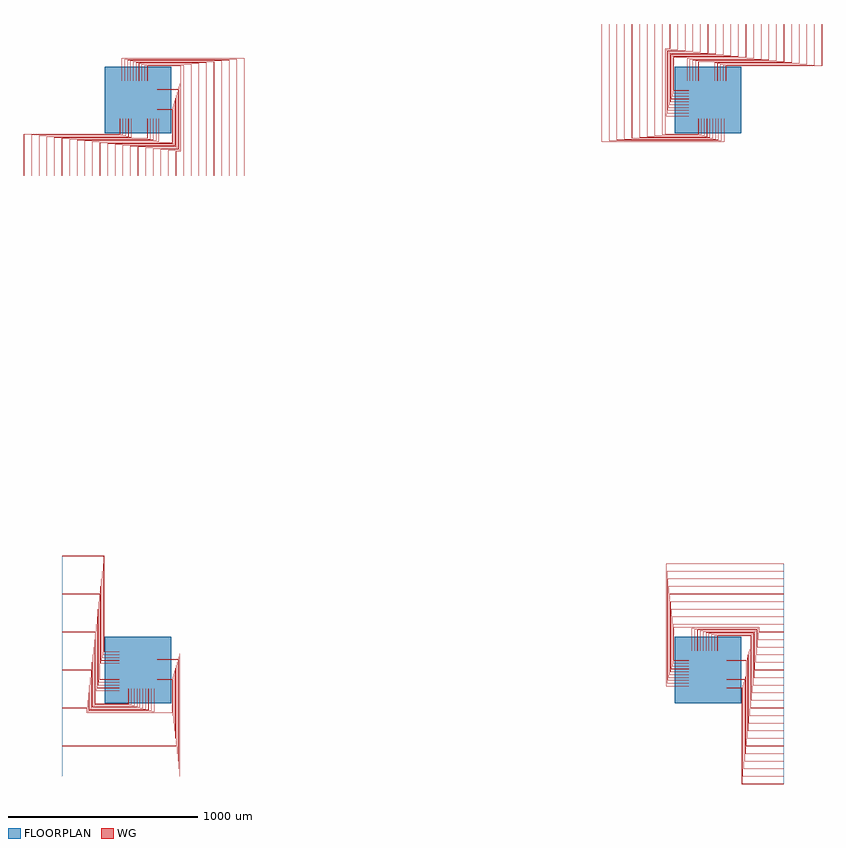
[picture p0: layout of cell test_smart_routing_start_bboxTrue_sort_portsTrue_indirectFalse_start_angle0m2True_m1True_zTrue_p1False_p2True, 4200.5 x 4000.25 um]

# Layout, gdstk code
import gdstk
lib = gdstk.Library(unit=1e-6, precision=1e-09)
def R(c, l, rs):  # rectangles x0, y0, x1, y1
    for r in rs: c.add(gdstk.rectangle(r[:2], r[2:], *l))
def P(c, l, *ps):  # polygons
    for p in ps: c.add(gdstk.Polygon(p, *l))
WG = (1, 0)
FLOORPLAN = (10, 0)

test_smart_routing_start = lib.new_cell('test_smart_routing_start_bboxTrue_sort_portsTrue_indirectFalse_start_angle0m2True_m1True_zTrue_p1False_p2True')
P(test_smart_routing_start, WG, [(3094.75,3100),(3094.75,3179.5),(3599.75,3179.5),(3599.75,3400),(3600.25,3400),(3600.25,3179),(3095.25,3179),(3095.25,3100)],
  [(3079.75,3100),(3079.75,3184),(3559.75,3184),(3559.75,3400),(3560.25,3400),(3560.25,3183.5),(3080.25,3183.5),(3080.25,3100)],
  [(3064.75,3100),(3064.75,3188.5),(3519.75,3188.5),(3519.75,3400),(3520.25,3400),(3520.25,3188),(3065.25,3188),(3065.25,3100)],
  [(3049.75,3100),(3049.75,3193),(3479.75,3193),(3479.75,3400),(3480.25,3400),(3480.25,3192.5),(3050.25,3192.5),(3050.25,3100)],
  [(3034.75,3100),(3034.75,3197.5),(3439.75,3197.5),(3439.75,3400),(3440.25,3400),(3440.25,3197),(3035.25,3197),(3035.25,3100)],
  [(2949.75,3100),(2949.75,3202),(3399.75,3202),(3399.75,3400),(3400.25,3400),(3400.25,3201.5),(2950.25,3201.5),(2950.25,3100)],
  [(2934.75,3100),(2934.75,3206.5),(3359.75,3206.5),(3359.75,3400),(3360.25,3400),(3360.25,3206),(2935.25,3206),(2935.25,3100)],
  [(2919.75,3100),(2919.75,3211),(3319.75,3211),(3319.75,3400),(3320.25,3400),(3320.25,3210.5),(2920.25,3210.5),(2920.25,3100)],
  [(2904.75,3100),(2904.75,3215.5),(3279.75,3215.5),(3279.75,3400),(3280.25,3400),(3280.25,3215),(2905.25,3215),(2905.25,3100)],
  [(2889.75,3100),(2889.75,3220),(3239.75,3220),(3239.75,3400),(3240.25,3400),(3240.25,3219.5),(2890.25,3219.5),(2890.25,3100)],
  [(2820.5,3049.75),(2820.5,3224.5),(3199.75,3224.5),(3199.75,3400),(3200.25,3400),(3200.25,3224),(2821,3224),(2821,3050.25),(2900,3050.25),(2900,3049.75)],
  [(2816,3034.75),(2816,3229),(3159.75,3229),(3159.75,3400),(3160.25,3400),(3160.25,3228.5),(2816.5,3228.5),(2816.5,3035.25),(2900,3035.25),(2900,3034.75)],
  [(2811.5,3019.75),(2811.5,3233.5),(3119.75,3233.5),(3119.75,3400),(3120.25,3400),(3120.25,3233),(2812,3233),(2812,3020.25),(2900,3020.25),(2900,3019.75)],
  [(2807,3004.75),(2807,3238),(3079.75,3238),(3079.75,3400),(3080.25,3400),(3080.25,3237.5),(2807.5,3237.5),(2807.5,3005.25),(2900,3005.25),(2900,3004.75)],
  [(2802.5,2989.75),(2802.5,3242.5),(3039.75,3242.5),(3039.75,3400),(3040.25,3400),(3040.25,3242),(2803,3242),(2803,2990.25),(2900,2990.25),(2900,2989.75)],
  [(2798,2974.75),(2798,3247),(2999.75,3247),(2999.75,3400),(3000.25,3400),(3000.25,3246.5),(2798.5,3246.5),(2798.5,2975.25),(2900,2975.25),(2900,2974.75)],
  [(2793.5,2959.75),(2793.5,3251.5),(2959.75,3251.5),(2959.75,3400),(2960.25,3400),(2960.25,3251),(2794,3251),(2794,2960.25),(2900,2960.25),(2900,2959.75)],
  [(2789,2944.75),(2789,3256),(2919.75,3256),(2919.75,3400),(2920.25,3400),(2920.25,3255.5),(2789.5,3255.5),(2789.5,2945.25),(2900,2945.25),(2900,2944.75)],
  [(2784.5,2929.75),(2784.5,3260.5),(2879.75,3260.5),(2879.75,3400),(2880.25,3400),(2880.25,3260),(2785,3260),(2785,2930.25),(2900,2930.25),(2900,2929.75)],
  [(2780,2914.75),(2780,3265),(2839.75,3265),(2839.75,3400),(2840.25,3400),(2840.25,3264.5),(2780.5,3264.5),(2780.5,2915.25),(2900,2915.25),(2900,2914.75)],
  [(2775.5,2820.5),(2775.5,3269.5),(2799.75,3269.5),(2799.75,3400),(2800.25,3400),(2800.25,3269),(2776,3269),(2776,2821),(2949.75,2821),(2949.75,2900),(2950.25,2900),(2950.25,2820.5)],
  [(2759.75,2816),(2759.75,3400),(2760.25,3400),(2760.25,2816.5),(2964.75,2816.5),(2964.75,2900),(2965.25,2900),(2965.25,2816)],
  [(2719.75,2811.5),(2719.75,3400),(2720.25,3400),(2720.25,2812),(2979.75,2812),(2979.75,2900),(2980.25,2900),(2980.25,2811.5)],
  [(2679.75,2807),(2679.75,3400),(2680.25,3400),(2680.25,2807.5),(2994.75,2807.5),(2994.75,2900),(2995.25,2900),(2995.25,2807)],
  [(2639.75,2802.5),(2639.75,3400),(2640.25,3400),(2640.25,2803),(3009.75,2803),(3009.75,2900),(3010.25,2900),(3010.25,2802.5)],
  [(2599.75,2798),(2599.75,3400),(2600.25,3400),(2600.25,2798.5),(3024.75,2798.5),(3024.75,2900),(3025.25,2900),(3025.25,2798)],
  [(2559.75,2793.5),(2559.75,3400),(2560.25,3400),(2560.25,2794),(3039.75,2794),(3039.75,2900),(3040.25,2900),(3040.25,2793.5)],
  [(2519.75,2789),(2519.75,3400),(2520.25,3400),(2520.25,2789.5),(3054.75,2789.5),(3054.75,2900),(3055.25,2900),(3055.25,2789)],
  [(2479.75,2784.5),(2479.75,3400),(2480.25,3400),(2480.25,2785),(3069.75,2785),(3069.75,2900),(3070.25,2900),(3070.25,2784.5)],
  [(2439.75,2780),(2439.75,3400),(2440.25,3400),(2440.25,2780.5),(3084.75,2780.5),(3084.75,2900),(3085.25,2900),(3085.25,2780)],
  [(-600.25,2600),(-600.25,2821),(-95.25,2821),(-95.25,2900),(-94.75,2900),(-94.75,2820.5),(-599.75,2820.5),(-599.75,2600)],
  [(-560.25,2600),(-560.25,2816.5),(-80.25,2816.5),(-80.25,2900),(-79.75,2900),(-79.75,2816),(-559.75,2816),(-559.75,2600)],
  [(-520.25,2600),(-520.25,2812),(-65.25,2812),(-65.25,2900),(-64.75,2900),(-64.75,2811.5),(-519.75,2811.5),(-519.75,2600)],
  [(-480.25,2600),(-480.25,2807.5),(-50.25,2807.5),(-50.25,2900),(-49.75,2900),(-49.75,2807),(-479.75,2807),(-479.75,2600)],
  [(-440.25,2600),(-440.25,2803),(-35.25,2803),(-35.25,2900),(-34.75,2900),(-34.75,2802.5),(-439.75,2802.5),(-439.75,2600)],
  [(-400.25,2600),(-400.25,2798.5),(49.75,2798.5),(49.75,2900),(50.25,2900),(50.25,2798),(-399.75,2798),(-399.75,2600)],
  [(-360.25,2600),(-360.25,2794),(64.75,2794),(64.75,2900),(65.25,2900),(65.25,2793.5),(-359.75,2793.5),(-359.75,2600)],
  [(-320.25,2600),(-320.25,2789.5),(79.75,2789.5),(79.75,2900),(80.25,2900),(80.25,2789),(-319.75,2789),(-319.75,2600)],
  [(-280.25,2600),(-280.25,2785),(94.75,2785),(94.75,2900),(95.25,2900),(95.25,2784.5),(-279.75,2784.5),(-279.75,2600)],
  [(-240.25,2600),(-240.25,2780.5),(109.75,2780.5),(109.75,2900),(110.25,2900),(110.25,2780),(-239.75,2780),(-239.75,2600)],
  [(-200.25,2600),(-200.25,2776),(179,2776),(179,2949.75),(100,2949.75),(100,2950.25),(179.5,2950.25),(179.5,2775.5),(-199.75,2775.5),(-199.75,2600)],
  [(-160.25,2600),(-160.25,2771.5),(183.5,2771.5),(183.5,2964.75),(100,2964.75),(100,2965.25),(184,2965.25),(184,2771),(-159.75,2771),(-159.75,2600)],
  [(-120.25,2600),(-120.25,2767),(188,2767),(188,2979.75),(100,2979.75),(100,2980.25),(188.5,2980.25),(188.5,2766.5),(-119.75,2766.5),(-119.75,2600)],
  [(-80.25,2600),(-80.25,2762.5),(192.5,2762.5),(192.5,2994.75),(100,2994.75),(100,2995.25),(193,2995.25),(193,2762),(-79.75,2762),(-79.75,2600)],
  [(-40.25,2600),(-40.25,2758),(197,2758),(197,3009.75),(100,3009.75),(100,3010.25),(197.5,3010.25),(197.5,2757.5),(-39.75,2757.5),(-39.75,2600)],
  [(-0.25,2600),(-0.25,2753.5),(201.5,2753.5),(201.5,3024.75),(100,3024.75),(100,3025.25),(202,3025.25),(202,2753),(0.25,2753),(0.25,2600)],
  [(39.75,2600),(39.75,2749),(206,2749),(206,3039.75),(100,3039.75),(100,3040.25),(206.5,3040.25),(206.5,2748.5),(40.25,2748.5),(40.25,2600)],
  [(79.75,2600),(79.75,2744.5),(210.5,2744.5),(210.5,3054.75),(100,3054.75),(100,3055.25),(211,3055.25),(211,2744),(80.25,2744),(80.25,2600)],
  [(119.75,2600),(119.75,2740),(215,2740),(215,3069.75),(100,3069.75),(100,3070.25),(215.5,3070.25),(215.5,2739.5),(120.25,2739.5),(120.25,2600)],
  [(159.75,2600),(159.75,2735.5),(219.5,2735.5),(219.5,3084.75),(100,3084.75),(100,3085.25),(220,3085.25),(220,2735),(160.25,2735),(160.25,2600)],
  [(199.75,2600),(199.75,2731),(224,2731),(224,3179),(50.25,3179),(50.25,3100),(49.75,3100),(49.75,3179.5),(224.5,3179.5),(224.5,2730.5),(200.25,2730.5),(200.25,2600)],
  [(239.75,2600),(239.75,3183.5),(35.25,3183.5),(35.25,3100),(34.75,3100),(34.75,3184),(240.25,3184),(240.25,2600)],
  [(279.75,2600),(279.75,3188),(20.25,3188),(20.25,3100),(19.75,3100),(19.75,3188.5),(280.25,3188.5),(280.25,2600)],
  [(319.75,2600),(319.75,3192.5),(5.25,3192.5),(5.25,3100),(4.75,3100),(4.75,3193),(320.25,3193),(320.25,2600)],
  [(359.75,2600),(359.75,3197),(-9.75,3197),(-9.75,3100),(-10.25,3100),(-10.25,3197.5),(360.25,3197.5),(360.25,2600)],
  [(399.75,2600),(399.75,3201.5),(-24.75,3201.5),(-24.75,3100),(-25.25,3100),(-25.25,3202),(400.25,3202),(400.25,2600)],
  [(439.75,2600),(439.75,3206),(-39.75,3206),(-39.75,3100),(-40.25,3100),(-40.25,3206.5),(440.25,3206.5),(440.25,2600)],
  [(479.75,2600),(479.75,3210.5),(-54.75,3210.5),(-54.75,3100),(-55.25,3100),(-55.25,3211),(480.25,3211),(480.25,2600)],
  [(519.75,2600),(519.75,3215),(-69.75,3215),(-69.75,3100),(-70.25,3100),(-70.25,3215.5),(520.25,3215.5),(520.25,2600)],
  [(559.75,2600),(559.75,3219.5),(-84.75,3219.5),(-84.75,3100),(-85.25,3100),(-85.25,3220),(560.25,3220),(560.25,2600)],
  [(-179.5,94.75),(-179.5,599.75),(-400,599.75),(-400,600.25),(-179,600.25),(-179,95.25),(-100,95.25),(-100,94.75)],
  [(-184,79.75),(-184,559.75),(-400,559.75),(-400,560.25),(-183.5,560.25),(-183.5,80.25),(-100,80.25),(-100,79.75)],
  [(-188.5,64.75),(-188.5,519.75),(-400,519.75),(-400,520.25),(-188,520.25),(-188,65.25),(-100,65.25),(-100,64.75)],
  [(-193,49.75),(-193,479.75),(-400,479.75),(-400,480.25),(-192.5,480.25),(-192.5,50.25),(-100,50.25),(-100,49.75)],
  [(-197.5,34.75),(-197.5,439.75),(-400,439.75),(-400,440.25),(-197,440.25),(-197,35.25),(-100,35.25),(-100,34.75)],
  [(-202,-50.25),(-202,399.75),(-400,399.75),(-400,400.25),(-201.5,400.25),(-201.5,-49.75),(-100,-49.75),(-100,-50.25)],
  [(-206.5,-65.25),(-206.5,359.75),(-400,359.75),(-400,360.25),(-206,360.25),(-206,-64.75),(-100,-64.75),(-100,-65.25)],
  [(-211,-80.25),(-211,319.75),(-400,319.75),(-400,320.25),(-210.5,320.25),(-210.5,-79.75),(-100,-79.75),(-100,-80.25)],
  [(-215.5,-95.25),(-215.5,279.75),(-400,279.75),(-400,280.25),(-215,280.25),(-215,-94.75),(-100,-94.75),(-100,-95.25)],
  [(-220,-110.25),(-220,239.75),(-400,239.75),(-400,240.25),(-219.5,240.25),(-219.5,-109.75),(-100,-109.75),(-100,-110.25)],
  [(-224.5,-179.5),(-224.5,199.75),(-400,199.75),(-400,200.25),(-224,200.25),(-224,-179),(-50.25,-179),(-50.25,-100),(-49.75,-100),(-49.75,-179.5)],
  [(-229,-184),(-229,159.75),(-400,159.75),(-400,160.25),(-228.5,160.25),(-228.5,-183.5),(-35.25,-183.5),(-35.25,-100),(-34.75,-100),(-34.75,-184)],
  [(-233.5,-188.5),(-233.5,119.75),(-400,119.75),(-400,120.25),(-233,120.25),(-233,-188),(-20.25,-188),(-20.25,-100),(-19.75,-100),(-19.75,-188.5)],
  [(-238,-193),(-238,79.75),(-400,79.75),(-400,80.25),(-237.5,80.25),(-237.5,-192.5),(-5.25,-192.5),(-5.25,-100),(-4.75,-100),(-4.75,-193)],
  [(-242.5,-197.5),(-242.5,39.75),(-400,39.75),(-400,40.25),(-242,40.25),(-242,-197),(9.75,-197),(9.75,-100),(10.25,-100),(10.25,-197.5)],
  [(-247,-202),(-247,-0.25),(-400,-0.25),(-400,0.25),(-246.5,0.25),(-246.5,-201.5),(24.75,-201.5),(24.75,-100),(25.25,-100),(25.25,-202)],
  [(-251.5,-206.5),(-251.5,-40.25),(-400,-40.25),(-400,-39.75),(-251,-39.75),(-251,-206),(39.75,-206),(39.75,-100),(40.25,-100),(40.25,-206.5)],
  [(-256,-211),(-256,-80.25),(-400,-80.25),(-400,-79.75),(-255.5,-79.75),(-255.5,-210.5),(54.75,-210.5),(54.75,-100),(55.25,-100),(55.25,-211)],
  [(-260.5,-215.5),(-260.5,-120.25),(-400,-120.25),(-400,-119.75),(-260,-119.75),(-260,-215),(69.75,-215),(69.75,-100),(70.25,-100),(70.25,-215.5)],
  [(-265,-220),(-265,-160.25),(-400,-160.25),(-400,-159.75),(-264.5,-159.75),(-264.5,-219.5),(84.75,-219.5),(84.75,-100),(85.25,-100),(85.25,-220)],
  [(-269.5,-224.5),(-269.5,-200.25),(-400,-200.25),(-400,-199.75),(-269,-199.75),(-269,-224),(179,-224),(179,-50.25),(100,-50.25),(100,-49.75),(179.5,-49.75),(179.5,-224.5)],
  [(-400,-240.25),(-400,-239.75),(183.5,-239.75),(183.5,-35.25),(100,-35.25),(100,-34.75),(184,-34.75),(184,-240.25)],
  [(-400,-280.25),(-400,-279.75),(188,-279.75),(188,-20.25),(100,-20.25),(100,-19.75),(188.5,-19.75),(188.5,-280.25)],
  [(-400,-320.25),(-400,-319.75),(192.5,-319.75),(192.5,-5.25),(100,-5.25),(100,-4.75),(193,-4.75),(193,-320.25)],
  [(-400,-360.25),(-400,-359.75),(197,-359.75),(197,9.75),(100,9.75),(100,10.25),(197.5,10.25),(197.5,-360.25)],
  [(-400,-400.25),(-400,-399.75),(201.5,-399.75),(201.5,24.75),(100,24.75),(100,25.25),(202,25.25),(202,-400.25)],
  [(-400,-440.25),(-400,-439.75),(206,-439.75),(206,39.75),(100,39.75),(100,40.25),(206.5,40.25),(206.5,-440.25)],
  [(-400,-480.25),(-400,-479.75),(210.5,-479.75),(210.5,54.75),(100,54.75),(100,55.25),(211,55.25),(211,-480.25)],
  [(-400,-520.25),(-400,-519.75),(215,-519.75),(215,69.75),(100,69.75),(100,70.25),(215.5,70.25),(215.5,-520.25)],
  [(-400,-560.25),(-400,-559.75),(219.5,-559.75),(219.5,84.75),(100,84.75),(100,85.25),(220,85.25),(220,-560.25)],
  [(3179,-600.25),(3179,-95.25),(3100,-95.25),(3100,-94.75),(3179.5,-94.75),(3179.5,-599.75),(3400,-599.75),(3400,-600.25)],
  [(3183.5,-560.25),(3183.5,-80.25),(3100,-80.25),(3100,-79.75),(3184,-79.75),(3184,-559.75),(3400,-559.75),(3400,-560.25)],
  [(3188,-520.25),(3188,-65.25),(3100,-65.25),(3100,-64.75),(3188.5,-64.75),(3188.5,-519.75),(3400,-519.75),(3400,-520.25)],
  [(3192.5,-480.25),(3192.5,-50.25),(3100,-50.25),(3100,-49.75),(3193,-49.75),(3193,-479.75),(3400,-479.75),(3400,-480.25)],
  [(3197,-440.25),(3197,-35.25),(3100,-35.25),(3100,-34.75),(3197.5,-34.75),(3197.5,-439.75),(3400,-439.75),(3400,-440.25)],
  [(3201.5,-400.25),(3201.5,49.75),(3100,49.75),(3100,50.25),(3202,50.25),(3202,-399.75),(3400,-399.75),(3400,-400.25)],
  [(3206,-360.25),(3206,64.75),(3100,64.75),(3100,65.25),(3206.5,65.25),(3206.5,-359.75),(3400,-359.75),(3400,-360.25)],
  [(3210.5,-320.25),(3210.5,79.75),(3100,79.75),(3100,80.25),(3211,80.25),(3211,-319.75),(3400,-319.75),(3400,-320.25)],
  [(3215,-280.25),(3215,94.75),(3100,94.75),(3100,95.25),(3215.5,95.25),(3215.5,-279.75),(3400,-279.75),(3400,-280.25)],
  [(3219.5,-240.25),(3219.5,109.75),(3100,109.75),(3100,110.25),(3220,110.25),(3220,-239.75),(3400,-239.75),(3400,-240.25)],
  [(3224,-200.25),(3224,179),(3050.25,179),(3050.25,100),(3049.75,100),(3049.75,179.5),(3224.5,179.5),(3224.5,-199.75),(3400,-199.75),(3400,-200.25)],
  [(3228.5,-160.25),(3228.5,183.5),(3035.25,183.5),(3035.25,100),(3034.75,100),(3034.75,184),(3229,184),(3229,-159.75),(3400,-159.75),(3400,-160.25)],
  [(3233,-120.25),(3233,188),(3020.25,188),(3020.25,100),(3019.75,100),(3019.75,188.5),(3233.5,188.5),(3233.5,-119.75),(3400,-119.75),(3400,-120.25)],
  [(3237.5,-80.25),(3237.5,192.5),(3005.25,192.5),(3005.25,100),(3004.75,100),(3004.75,193),(3238,193),(3238,-79.75),(3400,-79.75),(3400,-80.25)],
  [(3242,-40.25),(3242,197),(2990.25,197),(2990.25,100),(2989.75,100),(2989.75,197.5),(3242.5,197.5),(3242.5,-39.75),(3400,-39.75),(3400,-40.25)],
  [(3246.5,-0.25),(3246.5,201.5),(2975.25,201.5),(2975.25,100),(2974.75,100),(2974.75,202),(3247,202),(3247,0.25),(3400,0.25),(3400,-0.25)],
  [(3251,39.75),(3251,206),(2960.25,206),(2960.25,100),(2959.75,100),(2959.75,206.5),(3251.5,206.5),(3251.5,40.25),(3400,40.25),(3400,39.75)],
  [(3255.5,79.75),(3255.5,210.5),(2945.25,210.5),(2945.25,100),(2944.75,100),(2944.75,211),(3256,211),(3256,80.25),(3400,80.25),(3400,79.75)],
  [(2929.75,100),(2929.75,215.5),(3260.5,215.5),(3260.5,120.25),(3400,120.25),(3400,119.75),(3260,119.75),(3260,215),(2930.25,215),(2930.25,100)],
  [(2914.75,100),(2914.75,220),(3265,220),(3265,160.25),(3400,160.25),(3400,159.75),(3264.5,159.75),(3264.5,219.5),(2915.25,219.5),(2915.25,100)],
  [(2820.5,49.75),(2820.5,224.5),(3269.5,224.5),(3269.5,200.25),(3400,200.25),(3400,199.75),(3269,199.75),(3269,224),(2821,224),(2821,50.25),(2900,50.25),(2900,49.75)],
  [(2816,34.75),(2816,240.25),(3400,240.25),(3400,239.75),(2816.5,239.75),(2816.5,35.25),(2900,35.25),(2900,34.75)],
  [(2811.5,19.75),(2811.5,280.25),(3400,280.25),(3400,279.75),(2812,279.75),(2812,20.25),(2900,20.25),(2900,19.75)],
  [(2807,4.75),(2807,320.25),(3400,320.25),(3400,319.75),(2807.5,319.75),(2807.5,5.25),(2900,5.25),(2900,4.75)],
  [(2802.5,-10.25),(2802.5,360.25),(3400,360.25),(3400,359.75),(2803,359.75),(2803,-9.75),(2900,-9.75),(2900,-10.25)],
  [(2798,-25.25),(2798,400.25),(3400,400.25),(3400,399.75),(2798.5,399.75),(2798.5,-24.75),(2900,-24.75),(2900,-25.25)],
  [(2793.5,-40.25),(2793.5,440.25),(3400,440.25),(3400,439.75),(2794,439.75),(2794,-39.75),(2900,-39.75),(2900,-40.25)],
  [(2789,-55.25),(2789,480.25),(3400,480.25),(3400,479.75),(2789.5,479.75),(2789.5,-54.75),(2900,-54.75),(2900,-55.25)],
  [(2784.5,-70.25),(2784.5,520.25),(3400,520.25),(3400,519.75),(2785,519.75),(2785,-69.75),(2900,-69.75),(2900,-70.25)],
  [(2780,-85.25),(2780,560.25),(3400,560.25),(3400,559.75),(2780.5,559.75),(2780.5,-84.75),(2900,-84.75),(2900,-85.25)])
R(test_smart_routing_start, FLOORPLAN, [(-175,-175,175,175), (2825,-175,3175,175), (-175,2825,175,3175), (2825,2825,3175,3175)])
P(test_smart_routing_start, FLOORPLAN, [(-400,-560),(-400,600),(-400,600),(-400,-560)],
  [(-600,2600),(-600,2600),(560,2600),(560,2600)],
  [(3400,-600),(3400,560),(3400,560),(3400,-600)],
  [(2440,3400),(2440,3400),(3600,3400),(3600,3400)])

lib.write_gds('test_smart_routing_start_bboxTrue_sort_portsTrue_indirectFalse_start_angle0m2True_m1True_zTrue_p1False_p2True.gds')
